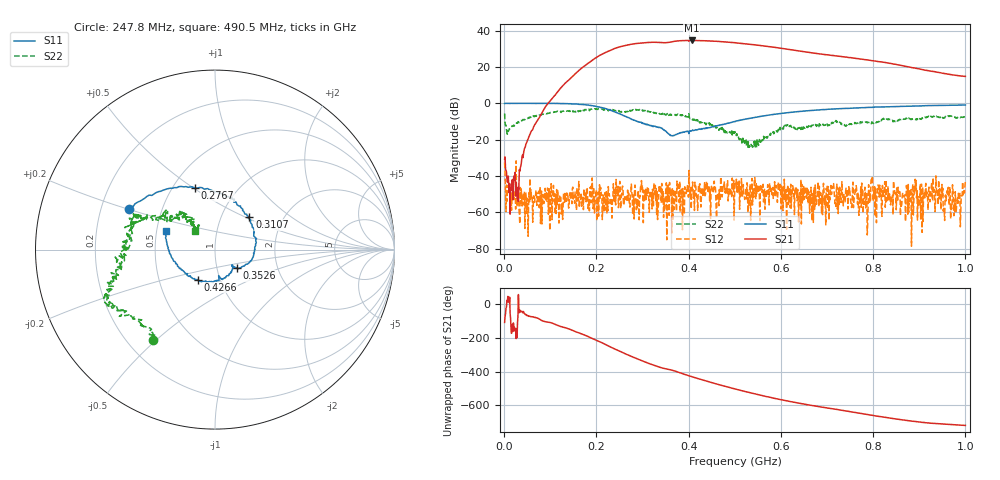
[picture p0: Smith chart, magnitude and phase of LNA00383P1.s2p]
! Created with skrf 1.9.0 (http://scikit-rf.org).
# Hz S RI R 50.0
!freq ReS11 ImS11 ReS21 ImS21 ReS12 ImS12 ReS22 ImS22
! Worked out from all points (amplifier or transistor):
!   1001 points, 1 MHz to 1 GHz, reference 50 ohm
!   highest |S21| = 34.6 dB at 406.6 MHz (marker M1)
!   |S21| within 3 dB of that: 259 MHz to 562.8 MHz (303.9 MHz wide, 74 % of centre)
!   unconditionally stable (mu >= 1): 3.412 MHz to 72.72 MHz; 243.1 MHz to 400.4 MHz; 400.9 MHz to end of sweep (the widest 3 of 34)
!   at 166.8 MHz: K = 1.35, MAG = 30.6 dB, |S12| = -49.3 dB
!   at 500.5 MHz: K = 1.67, MAG = 34.0 dB, |S12| = -44.1 dB
!   at 1 GHz: K = 1.94, MAG = 23.0 dB, |S12| = -42.4 dB
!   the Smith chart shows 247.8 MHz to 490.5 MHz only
!   S11 on the Smith chart (normalised r, x): 247.8 MHz: 0.32, +0.20; 276.7 MHz: 0.64, +0.51; 310.7 MHz: 1.36, +0.53; 352.6 MHz: 1.25, -0.26; 426.6 MHz: 0.78, -0.27; 490.5 MHz: 0.56, +0.13
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1000000  0.9849 -0.000495  -0.00916 -0.0274  -0.01 0.0214  0.3836 0.355
1.08892e8  0.5168 -0.8492  -0.7502 -1.415  0.0017 0.000985  0.4271 -0.3767
1.67833e8  -0.2462 -0.8979  -9.268 -0.6414  -0.000638 0.00133  0.0359 -0.6331
2.11789e8  -0.6851 -0.3313  -14.65 16.87  -0.00189 -0.00242  -0.1992 -0.6662
2.29771e8  -0.6498 -0.0202  -8.642 27.34  -0.00103 -0.00142  -0.2749 -0.6084
2.47753e8  -0.4784 0.2278  3.381 34.8  -0.00135 -2.58e-05  -0.3459 -0.5038
2.76724e8  -0.1108 0.3429  27.76 31.96  -0.00079 -0.00349  -0.5487 -0.3167
3.1069e8  0.1918 0.1816  45.89 9.673  0.000688 0.00505  -0.5636 -0.1746
3.34666e8  0.2146 -0.0199  46.56 -9.516  0.00138 -0.000784  -0.5477 -0.0709
3.52648e8  0.1211 -0.1015  42.69 -19.34  0.000151 9.14e-05  -0.4968 0.0432
3.75625e8  0.0976 -0.1049  38.89 -34.63  0.000874 0.00439  -0.4618 0.1708
4.06594e8  -0.00265 -0.1759  18.81 -50.28  0.00179 0.00303  -0.3243 0.1898
4.26574e8  -0.0955 -0.1669  3.28 -52.86  0.000755 -0.00118  -0.2402 0.1899
4.55545e8  -0.2194 -0.0784  -17.06 -48.21  0.00587 0.00417  -0.1834 0.1832
4.9051e8  -0.2751 0.1037  -33.84 -33.23  0.00373 -0.00185  -0.1109 0.1048
5.005e8  -0.2731 0.1526  -37.18 -28.3  -0.00591 0.00189  -0.106 0.1263
5.4046e8  -0.1818 0.3599  -40.38 -7.275  0.00369 -0.00182  -0.0743 0.0135
5.87413e8  0.033 0.4997  -32.74 11.46  -0.000162 -0.00272  -0.1481 -0.05
6.67333e8  0.4101 0.4888  -11.93 21.23  8.05e-05 -0.00058  -0.2499 -0.0131
7.55245e8  0.6892 0.2676  2.946 17.45  -0.00313 -0.00251  -0.2747 0.0464
8.34166e8  0.8014 0.00935  8.882 9.121  -0.000738 -0.00314  -0.3572 0.0444
1e9  0.727 -0.5276  5.518 0.1082  -0.0076 -0.000347  -0.2549 0.3238
